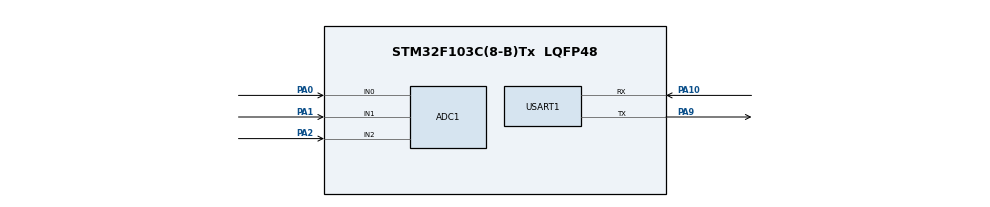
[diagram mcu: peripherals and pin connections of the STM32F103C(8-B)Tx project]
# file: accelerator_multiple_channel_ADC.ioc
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ADC1.Channel-3\#ChannelRegularConversion=ADC_CHANNEL_0
ADC1.Channel-4\#ChannelRegularConversion=ADC_CHANNEL_1
ADC1.Channel-6\#ChannelRegularConversion=ADC_CHANNEL_2
ADC1.ContinuousConvMode=ENABLE
ADC1.EnableInjectedConversion=DISABLE
ADC1.EnableRegularConversion=ENABLE
ADC1.NbrOfConversion=3
ADC1.NbrOfConversionFlag=1
ADC1.Rank-3\#ChannelRegularConversion=1
ADC1.Rank-4\#ChannelRegularConversion=2
ADC1.Rank-6\#ChannelRegularConversion=3
ADC1.SamplingTime-3\#ChannelRegularConversion=ADC_SAMPLETIME_239CYCLES_5
ADC1.SamplingTime-4\#ChannelRegularConversion=ADC_SAMPLETIME_239CYCLES_5
ADC1.SamplingTime-6\#ChannelRegularConversion=ADC_SAMPLETIME_239CYCLES_5
ADC1.master=1
Dma.ADC1.0.Direction=DMA_PERIPH_TO_MEMORY
Dma.ADC1.0.Instance=DMA1_Channel1
Dma.ADC1.0.MemDataAlignment=DMA_MDATAALIGN_HALFWORD
Dma.ADC1.0.MemInc=DMA_MINC_ENABLE
Dma.ADC1.0.Mode=DMA_CIRCULAR
Dma.ADC1.0.PeriphDataAlignment=DMA_PDATAALIGN_HALFWORD
Dma.ADC1.0.PeriphInc=DMA_PINC_DISABLE
Dma.ADC1.0.Priority=DMA_PRIORITY_LOW
Dma.Request0=ADC1
Mcu.Family=STM32F1
Mcu.Name=STM32F103C(8-B)Tx
Mcu.Package=LQFP48
NVIC.DMA1_Channel1_IRQn=true\:0\:0\:false\:false\:true\:false\:true\:true
NVIC.PriorityGroup=NVIC_PRIORITYGROUP_4
PA0-WKUP.Signal=ADCx_IN0
PA1.Signal=ADCx_IN1
PA10.Mode=Asynchronous
PA10.Signal=USART1_RX
PA13.Mode=Serial_Wire
PA13.Signal=SYS_JTMS-SWDIO
PA14.Mode=Serial_Wire
PA14.Signal=SYS_JTCK-SWCLK
PA2.Signal=ADCx_IN2
PA9.Mode=Asynchronous
PA9.Signal=USART1_TX
PD0-OSC_IN.Mode=HSE-External-Oscillator
PD0-OSC_IN.Signal=RCC_OSC_IN
PD1-OSC_OUT.Mode=HSE-External-Oscillator
PD1-OSC_OUT.Signal=RCC_OSC_OUT
ProjectManager.HeapSize=0x200
ProjectManager.StackSize=0x400
ProjectManager.TargetToolchain=MDK-ARM V5.32
RCC.APB1Freq_Value=8000000
RCC.APB2Freq_Value=8000000
RCC.SYSCLKSource=RCC_SYSCLKSOURCE_PLLCLK
SH.ADCx_IN0.0=ADC1_IN0,IN0
SH.ADCx_IN1.0=ADC1_IN1,IN1
SH.ADCx_IN2.0=ADC1_IN2,IN2
USART1.VirtualMode=VM_ASYNC
board=custom

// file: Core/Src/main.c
/* USER CODE BEGIN Header */
/**
  ******************************************************************************
  * @file           : main.c
  * @brief          : Main program body
  ******************************************************************************
  * @attention
  *
  * Copyright (c) 2025 STMicroelectronics.
  * All rights reserved.
  *
  * This software is licensed under terms that can be found in the LICENSE file
  * in the root directory of this software component.
  * If no LICENSE file comes with this software, it is provided AS-IS.
  *
  ******************************************************************************
  */
/* USER CODE END Header */
#include "main.h"

/* USER CODE BEGIN Includes */
#include "stdio.h"
/* USER CODE END Includes */

/* USER CODE BEGIN PD */
#define Vref 3.2
#define X_offset 2046
#define Y_offset 2106
#define Z_offset 2465
#define THRESHOLD 0.01f
#define N 20
/* USER CODE END PD */

ADC_HandleTypeDef hadc1;
DMA_HandleTypeDef hdma_adc1;

UART_HandleTypeDef huart1;

/* USER CODE BEGIN PV */
uint16_t adc_value[3];
float vx=0,vy=0,vz=0;
/* USER CODE END PV */

void SystemClock_Config(void);
static void MX_GPIO_Init(void);
static void MX_DMA_Init(void);
static void MX_ADC1_Init(void);
static void MX_USART1_UART_Init(void);

/* USER CODE BEGIN 0 */
void check_movement(void) {

    float sum_x = 0, sum_y = 0, sum_z = 0;

    for (int i = 0; i < N; i++) {
        sum_x += ((float)(adc_value[0] - X_offset) / 4095.0f) * 3.3f / 0.3f;
        sum_y += ((float)(adc_value[1] - Y_offset) / 4095.0f) * 3.3f / 0.3f;
        sum_z += ((float)(adc_value[2] - Z_offset) / 4095.0f) * 3.3f / 0.3f;
        HAL_Delay(2);
    }

    vx = sum_x / N;
    vy = sum_y / N;
    vz = sum_z / N;

    if (vx > THRESHOLD) {
        printf("? Right\r\n");
    } else if (vx < -THRESHOLD) {
        printf("? Left\r\n");
    } else if (vy > THRESHOLD) {
        printf("? Forward\r\n");
    } else if (vy < -THRESHOLD) {
        printf("? Backward\r\n");
    } else if (vz > THRESHOLD+0.01) {
        printf("? Up\r\n");
    } else if (vz < -(THRESHOLD+0.01)) {
        printf("? Down\r\n");
    } else {
        printf("No movement\r\n");
    }
}
/* USER CODE END 0 */

int main(void)
{

  /* MCU Configuration--------------------------------------------------------*/

  /* Reset of all peripherals, Initializes the Flash interface and the Systick. */
  HAL_Init();

  /* Configure the system clock */
  SystemClock_Config();

  /* Initialize all configured peripherals */
  MX_GPIO_Init();
  MX_DMA_Init();
  MX_ADC1_Init();
  MX_USART1_UART_Init();
  /* USER CODE BEGIN 2 */
	HAL_ADC_Start_DMA(&hadc1, (uint32_t*) adc_value, 3);
  /* USER CODE END 2 */

  /* Infinite loop */
  /* USER CODE BEGIN WHILE */
  while (1)
  {
		check_movement();
		HAL_Delay(500);
    /* USER CODE END WHILE */

  }
}

void SystemClock_Config(void)
{
  RCC_OscInitTypeDef RCC_OscInitStruct = {0};
  RCC_ClkInitTypeDef RCC_ClkInitStruct = {0};
  RCC_PeriphCLKInitTypeDef PeriphClkInit = {0};

  /** Initializes the RCC Oscillators according to the specified parameters
  * in the RCC_OscInitTypeDef structure.
  */
  RCC_OscInitStruct.OscillatorType = RCC_OSCILLATORTYPE_HSI;
  RCC_OscInitStruct.HSIState = RCC_HSI_ON;
  RCC_OscInitStruct.HSICalibrationValue = RCC_HSICALIBRATION_DEFAULT;
  RCC_OscInitStruct.PLL.PLLState = RCC_PLL_ON;
  RCC_OscInitStruct.PLL.PLLSource = RCC_PLLSOURCE_HSI_DIV2;
  RCC_OscInitStruct.PLL.PLLMUL = RCC_PLL_MUL2;
  if (HAL_RCC_OscConfig(&RCC_OscInitStruct) != HAL_OK)
  {
    Error_Handler();
  }

  /** Initializes the CPU, AHB and APB buses clocks
  */
  RCC_ClkInitStruct.ClockType = RCC_CLOCKTYPE_HCLK|RCC_CLOCKTYPE_SYSCLK
                              |RCC_CLOCKTYPE_PCLK1|RCC_CLOCKTYPE_PCLK2;
  RCC_ClkInitStruct.SYSCLKSource = RCC_SYSCLKSOURCE_PLLCLK;
  RCC_ClkInitStruct.AHBCLKDivider = RCC_SYSCLK_DIV1;
  RCC_ClkInitStruct.APB1CLKDivider = RCC_HCLK_DIV1;
  RCC_ClkInitStruct.APB2CLKDivider = RCC_HCLK_DIV1;

  if (HAL_RCC_ClockConfig(&RCC_ClkInitStruct, FLASH_LATENCY_0) != HAL_OK)
  {
    Error_Handler();
  }
  PeriphClkInit.PeriphClockSelection = RCC_PERIPHCLK_ADC;
  PeriphClkInit.AdcClockSelection = RCC_ADCPCLK2_DIV2;
  if (HAL_RCCEx_PeriphCLKConfig(&PeriphClkInit) != HAL_OK)
  {
    Error_Handler();
  }
}

static void MX_ADC1_Init(void)
{

  ADC_ChannelConfTypeDef sConfig = {0};

  /** Common config
  */
  hadc1.Instance = ADC1;
  hadc1.Init.ScanConvMode = ADC_SCAN_ENABLE;
  hadc1.Init.ContinuousConvMode = ENABLE;
  hadc1.Init.DiscontinuousConvMode = DISABLE;
  hadc1.Init.ExternalTrigConv = ADC_SOFTWARE_START;
  hadc1.Init.DataAlign = ADC_DATAALIGN_RIGHT;
  hadc1.Init.NbrOfConversion = 3;
  if (HAL_ADC_Init(&hadc1) != HAL_OK)
  {
    Error_Handler();
  }

  /** Configure Regular Channel
  */
  sConfig.Channel = ADC_CHANNEL_0;
  sConfig.Rank = ADC_REGULAR_RANK_1;
  sConfig.SamplingTime = ADC_SAMPLETIME_239CYCLES_5;
  if (HAL_ADC_ConfigChannel(&hadc1, &sConfig) != HAL_OK)
  {
    Error_Handler();
  }

  /** Configure Regular Channel
  */
  sConfig.Channel = ADC_CHANNEL_1;
  sConfig.Rank = ADC_REGULAR_RANK_2;
  if (HAL_ADC_ConfigChannel(&hadc1, &sConfig) != HAL_OK)
  {
    Error_Handler();
  }

  /** Configure Regular Channel
  */
  sConfig.Channel = ADC_CHANNEL_2;
  sConfig.Rank = ADC_REGULAR_RANK_3;
  if (HAL_ADC_ConfigChannel(&hadc1, &sConfig) != HAL_OK)
  {
    Error_Handler();
  }

}

static void MX_USART1_UART_Init(void)
{

  huart1.Instance = USART1;
  huart1.Init.BaudRate = 115200;
  huart1.Init.WordLength = UART_WORDLENGTH_8B;
  huart1.Init.StopBits = UART_STOPBITS_1;
  huart1.Init.Parity = UART_PARITY_NONE;
  huart1.Init.Mode = UART_MODE_TX_RX;
  huart1.Init.HwFlowCtl = UART_HWCONTROL_NONE;
  huart1.Init.OverSampling = UART_OVERSAMPLING_16;
  if (HAL_UART_Init(&huart1) != HAL_OK)
  {
    Error_Handler();
  }

}

static void MX_DMA_Init(void)
{

  /* DMA controller clock enable */
  __HAL_RCC_DMA1_CLK_ENABLE();

  /* DMA interrupt init */
  /* DMA1_Channel1_IRQn interrupt configuration */
  HAL_NVIC_SetPriority(DMA1_Channel1_IRQn, 0, 0);
  HAL_NVIC_EnableIRQ(DMA1_Channel1_IRQn);

}

static void MX_GPIO_Init(void)
{

  /* GPIO Ports Clock Enable */
  __HAL_RCC_GPIOD_CLK_ENABLE();
  __HAL_RCC_GPIOA_CLK_ENABLE();

}

/* USER CODE BEGIN 4 */
struct __FILE{
  int handle;
  /* Whatever you require here. If the only file you are using is */
  /* standard output using printf() for debugging, no file handling */
  /* is required. */
};
FILE __stdout;

int fputc(int ch, FILE *f){
	HAL_UART_Transmit(&huart1, (uint8_t *)&ch, 1, 0xFFFF);
  return ch;
}

int ferror(FILE *f){
  /* Your implementation of ferror(). */
  return 0;
}
/* USER CODE END 4 */

void Error_Handler(void)
{
  __disable_irq();
  while (1)
  {
  }
}
